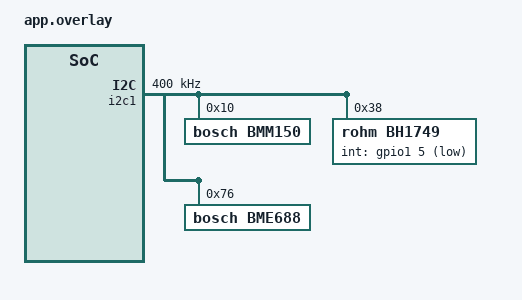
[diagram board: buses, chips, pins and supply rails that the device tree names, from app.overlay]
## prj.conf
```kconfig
CONFIG_STDOUT_CONSOLE=y
CONFIG_I2C=y
CONFIG_SENSOR=y
CONFIG_BME688=y
CONFIG_BME688_SERVER=y
CONFIG_BME688_BSEC2=y

CONFIG_APP_FLASH=y
CONFIG_FLASH=y
CONFIG_MPU_ALLOW_FLASH_WRITE=y
CONFIG_FLASH_PAGE_LAYOUT=y
CONFIG_SOC_FLASH_NRF_EMULATE_ONE_BYTE_WRITE_ACCESS=y


CONFIG_FPU=y

#C++
CONFIG_CPLUSPLUS=y
CONFIG_LIB_CPLUSPLUS=y

CONFIG_EXCEPTIONS=y
CONFIG_NEWLIB_LIBC=y
CONFIG_NEWLIB_LIBC_NANO=n

#for future 3.3 
#CONFIG_CPP_EXCEPTIONS=y
#CONFIG_CPP=y
#CONFIG_LIBCPP_IMPLEMENTATION=y

CONFIG_STD_CPP11=n
CONFIG_STD_CPP17=y


#Stack
CONFIG_MAIN_STACK_SIZE=8192

#safe silence of ABI change warning as using gcc > 7 https://github.com/nlohmann/json/issues/1861
CONFIG_COMPILER_OPT="-Wno-psabi"

#print float
CONFIG_NEWLIB_LIBC_FLOAT_PRINTF=y

CONFIG_LOG=y
CONFIG_LOG_MODE_DEFERRED=y
CONFIG_LOG_MAX_LEVEL=4
```

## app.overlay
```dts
&i2c1 {
	compatible = "nordic,nrf-twim";
	status = "okay";
	clock-frequency = <I2C_BITRATE_FAST>;

	pinctrl-0 = <&i2c1_default>;
	pinctrl-1 = <&i2c1_sleep>;
	pinctrl-names = "default", "sleep";
	bmm150: bmm150@10 {
		compatible = "bosch,bmm150";
		reg = <0x10>;
	};

	bh1749@38 {
		compatible = "rohm,bh1749";
		reg = <0x38>;
		int-gpios = <&gpio1 5 (GPIO_PULL_UP | GPIO_ACTIVE_LOW)>;
	};

	bme688@76 {
		compatible = "bosch,bme688";
		reg = <0x76>;
	};
};
```

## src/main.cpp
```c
/*
 * Copyright (c) 2018 Bosch Sensortec GmbH
 *
 * SPDX-License-Identifier: Apache-2.0
 */

#include <zephyr/kernel.h>
#include <stdio.h>
#include "bme688_server.h"
#include <string>

void bme688_handler(json &data){
	std::string text = data.dump(4);
	printf(" - bme688_handler> %s\n",text.c_str());
}

int main(void)
{
	printf(" - Test bme688 bsec2 app - early debug wait connection\n");
	k_sleep(K_MSEC(10000));
	printf(" - Test bme688 bsec2 app - start\n");

	start_bme688(bme688_handler);
	k_sleep(K_MSEC(3000));

	uint32_t count = 0;
	while (1) {
		printf(" - loop %d main sleeping 30 sec\n",count++);
		k_sleep(K_MSEC(30000));
	}
	return 0;
}
```
